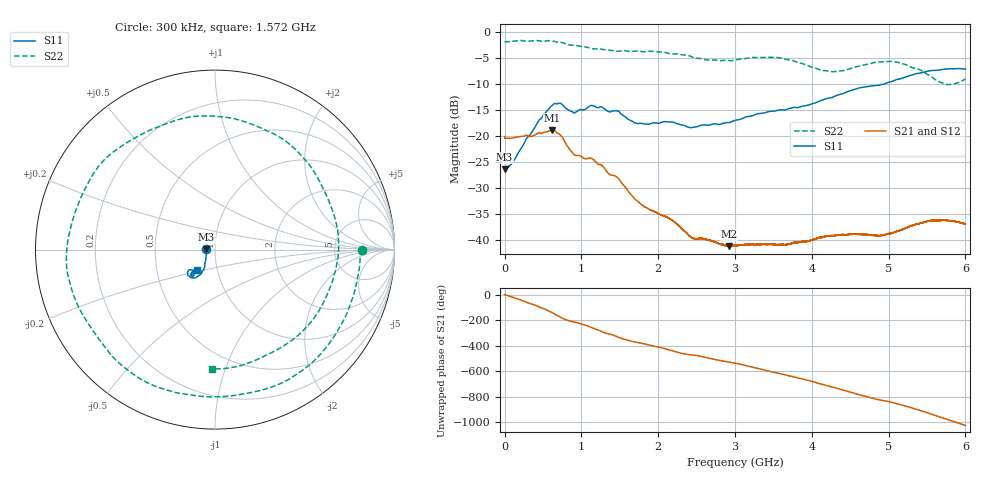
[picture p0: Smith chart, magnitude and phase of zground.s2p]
!  8/6/2020  01:48:50
! Ref Plane: 0.000 mm
# MHZ S MA R  50
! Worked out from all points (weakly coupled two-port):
!   10001 points, 300 kHz to 6 GHz, reference 50 ohm
!   highest |S21| = -18.88 dB at 623.1 MHz (marker M1); lowest = -41.2 dB at 2.923 GHz (marker M2)
!   lowest |S11| = -26.4 dB at 300 kHz (marker M3), VSWR 1.10, Z = 45.5 + j0.131 ohm
!   |S11| at or under -10 dB: start of sweep to 4.944 GHz
!   |S22| runs from -10.1 to -1.6 dB; largest |S21 - S12| = 0.0022
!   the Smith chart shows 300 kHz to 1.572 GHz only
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0.3  0.0476 178.3  0.09878 -1.0  0.0966 -0.8  0.8165 -0.3
312.8844  0.09911 -125.7  0.09986 -67.3  0.1001 -67.3  0.8208 -91.4
623.0689  0.1984 -126.7  0.1137 -143.3  0.1136 -143.3  0.826 -180.0
812.6594  0.1815 -141.7  0.08091 159.2  0.08105 159.3  0.7638 124.4
1000.45  0.1791 -132.1  0.06334 128.0  0.06337 128.0  0.7272 72.7
1259.037  0.1912 -134.0  0.05263 71.9  0.05264 71.9  0.6879 -1.9
1544.623  0.1576 -132.2  0.03384 12.6  0.03388 12.7  0.664 -84.2
1788.211  0.1316 -116.1  0.02174 -23.0  0.02169 -22.9  0.6503 -151.6
2000.6  0.1328 -103.8  0.0179 -51.8  0.01792 -51.7  0.6465 151.5
2253.787  0.1312 -95.5  0.01398 -92.0  0.01404 -92.3  0.6179 84.0
2521.374  0.1241 -76.2  0.01029 -119.7  0.01024 -119.8  0.5607 9.1
2922.754  0.1346 -52.6  0.008685 -169.0  0.008706 -169.0  0.533 -110.0
3000.15  0.1412 -48.3  0.008732 -178.2  0.008768 -177.9  0.5374 -133.2
3231.738  0.1573 -38.1  0.009045 150.5  0.009062 150.5  0.5721 164.4
3512.524  0.1737 -28.4  0.009016 109.7  0.009012 109.9  0.5715 94.3
4000.3  0.2037 -8.0  0.009972 39.8  0.009976 40.1  0.4616 -33.1
4219.889  0.2316 -0.5  0.01095 2.6  0.01093 2.7  0.4235 -101.5
4486.276  0.2713 6.7  0.01124 -41.8  0.01129 -41.8  0.4429 174.8
4761.062  0.3024 9.2  0.01112 -88.0  0.01113 -88.0  0.4989 102.0
5000.45  0.3291 17.7  0.01151 -118.6  0.01145 -118.7  0.5214 45.4
5502.625  0.4205 19.1  0.01507 154.0  0.0151 154.1  0.394 -76.8
6000  0.4404 12.6  0.01414 54.5  0.01421 54.5  0.3545 115.5
